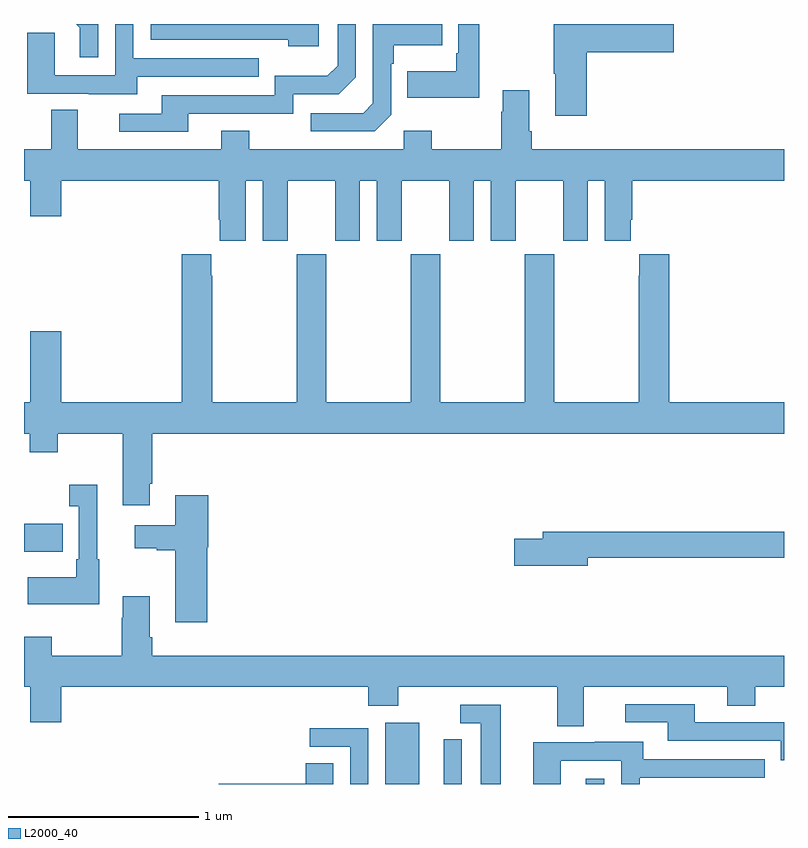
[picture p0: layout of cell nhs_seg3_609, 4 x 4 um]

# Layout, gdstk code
import gdstk
lib = gdstk.Library(unit=1e-6, precision=1e-09)
def R(c, l, rs):  # rectangles x0, y0, x1, y1
    for r in rs: c.add(gdstk.rectangle(r[:2], r[2:], *l))
def P(c, l, *ps):  # polygons
    for p in ps: c.add(gdstk.Polygon(p, *l))
L2000_40 = (2000, 40)

nhs_seg3_609 = lib.new_cell('nhs_seg3_609')
R(nhs_seg3_609, L2000_40, [(142.901,704.4,143.08,704.722), (143.957,704.4,144.054,704.428), (141,705.623,141.203,705.771)])
P(nhs_seg3_609, L2000_40, [(143.963,708.251),(144.421,708.251),(144.421,708.398),(143.963,708.398),(143.963,708.4),(143.788,708.4),(143.788,708.139),(143.795,708.139),(143.795,707.916),(143.963,707.916)],
  [(143.395,708.4),(143.286,708.4),(143.286,708.247),(143.274,708.247),(143.274,708.151),(143.017,708.151),(143.017,708.011),(143.395,708.011)],
  [(141.39,708.4),(141.274,708.4),(141.293,708.381),(141.293,708.225),(141.39,708.225)],
  [(141.595,708.123),(142.235,708.123),(142.235,708.219),(141.576,708.219),(141.576,708.4),(141.48,708.4),(141.48,708.129),(141.162,708.129),(141.162,708.353),(141.017,708.353),(141.017,708.033),(141.341,708.033),(141.341,708.029),(141.595,708.029)],
  [(141.865,707.928),(142.416,707.928),(142.416,708.03),(142.656,708.03),(142.746,708.12),(142.746,708.4),(142.65,708.4),(142.65,708.18),(142.597,708.127),(142.32,708.127),(142.32,708.024),(141.725,708.024),(141.725,707.928),(141.501,707.928),(141.501,707.832),(141.865,707.832)],
  [(142.932,707.922),(142.932,708.191),(142.945,708.191),(142.945,708.287),(143.201,708.287),(143.201,708.4),(142.836,708.4),(142.836,707.982),(142.785,707.931),(142.509,707.931),(142.509,707.835),(142.845,707.835)],
  [(142.552,708.4),(141.666,708.4),(141.666,708.318),(142.391,708.318),(142.391,708.284),(142.552,708.284)],
  [(143.237,707.259),(143.368,707.259),(143.368,707.576),(143.456,707.576),(143.456,707.259),(143.587,707.259),(143.587,707.576),(143.837,707.576),(143.837,707.259),(143.968,707.259),(143.968,707.576),(144.056,707.576),(144.056,707.259),(144.193,707.259),(144.193,707.371),(144.2,707.371),(144.2,707.576),(145,707.576),(145,707.74),(143.672,707.74),(143.672,707.836),(143.659,707.836),(143.659,708.052),(143.519,708.052),(143.519,707.939),(143.512,707.939),(143.512,707.74),(143.145,707.74),(143.145,707.839),(142.998,707.839),(142.998,707.74),(142.185,707.74),(142.185,707.839),(142.037,707.839),(142.037,707.74),(141.283,707.74),(141.283,707.948),(141.143,707.948),(141.143,707.74),(141,707.74),(141,707.576),(141.032,707.576),(141.032,707.388),(141.196,707.388),(141.196,707.576),(142.025,707.576),(142.025,707.371),(142.031,707.371),(142.031,707.259),(142.168,707.259),(142.168,707.576),(142.256,707.576),(142.256,707.259),(142.387,707.259),(142.387,707.576),(142.637,707.576),(142.637,707.259),(142.768,707.259),(142.768,707.576),(142.856,707.576),(142.856,707.259),(142.987,707.259),(142.987,707.576),(143.237,707.576)],
  [(145,706.408),(144.395,706.408),(144.395,707.188),(144.239,707.188),(144.239,707.075),(144.235,707.075),(144.235,706.408),(143.79,706.408),(143.79,707.188),(143.635,707.188),(143.635,706.408),(143.19,706.408),(143.19,707.188),(143.035,707.188),(143.035,706.408),(142.59,706.408),(142.59,707.188),(142.435,707.188),(142.435,706.408),(141.99,706.408),(141.99,707.075),(141.985,707.075),(141.985,707.188),(141.83,707.188),(141.83,706.408),(141.196,706.408),(141.196,706.783),(141.032,706.783),(141.032,706.408),(141,706.408),(141,706.244),(141.029,706.244),(141.029,706.145),(141.177,706.145),(141.177,706.244),(141.521,706.244),(141.521,705.867),(141.661,705.867),(141.661,705.979),(141.674,705.979),(141.674,706.244),(145,706.244)],
  [(141.397,705.583),(141.386,705.583),(141.386,705.976),(141.237,705.976),(141.237,705.863),(141.288,705.863),(141.288,705.583),(141.276,705.583),(141.276,705.487),(141.019,705.487),(141.019,705.347),(141.397,705.347)],
  [(141.965,705.645),(141.97,705.645),(141.97,705.919),(141.797,705.919),(141.797,705.763),(141.582,705.763),(141.582,705.641),(141.698,705.641),(141.698,705.629),(141.797,705.629),(141.797,705.252),(141.965,705.252)],
  [(143.968,705.592),(145,705.592),(145,705.728),(143.729,705.728),(143.729,705.692),(143.58,705.692),(143.58,705.55),(143.968,705.55)],
  [(143.947,704.912),(144.701,704.912),(144.701,704.813),(144.849,704.813),(144.849,704.912),(145,704.912),(145,705.076),(141.674,705.076),(141.674,705.172),(141.661,705.172),(141.661,705.388),(141.521,705.388),(141.521,705.275),(141.514,705.275),(141.514,705.076),(141.147,705.076),(141.147,705.175),(141,705.175),(141,704.912),(141.032,704.912),(141.032,704.724),(141.196,704.724),(141.196,704.912),(142.811,704.912),(142.811,704.813),(142.971,704.813),(142.971,704.912),(143.807,704.912),(143.807,704.704),(143.947,704.704)],
  [(145,704.724),(144.529,704.724),(144.529,704.82),(144.165,704.82),(144.165,704.724),(144.389,704.724),(144.389,704.628),(144.984,704.628),(144.984,704.525),(145,704.525)],
  [(143.509,704.817),(143.295,704.817),(143.295,704.721),(143.405,704.721),(143.405,704.4),(143.509,704.4)],
  [(142.812,704.694),(142.503,704.694),(142.503,704.595),(142.716,704.595),(142.716,704.4),(142.812,704.4)],
  [(143.304,704.636),(143.208,704.636),(143.208,704.482),(143.21,704.482),(143.21,704.4),(143.304,704.4)],
  [(143.826,704.523),(144.144,704.523),(144.144,704.4),(144.24,704.4),(144.24,704.433),(144.899,704.433),(144.899,704.529),(144.259,704.529),(144.259,704.623),(144.005,704.623),(144.005,704.619),(143.681,704.619),(143.681,704.4),(143.826,704.4)],
  [(142.627,704.51),(142.484,704.51),(142.484,704.402),(142.026,704.402),(142.026,704.4),(142.627,704.4)])

lib.write_gds('nhs_seg3_609.gds')
